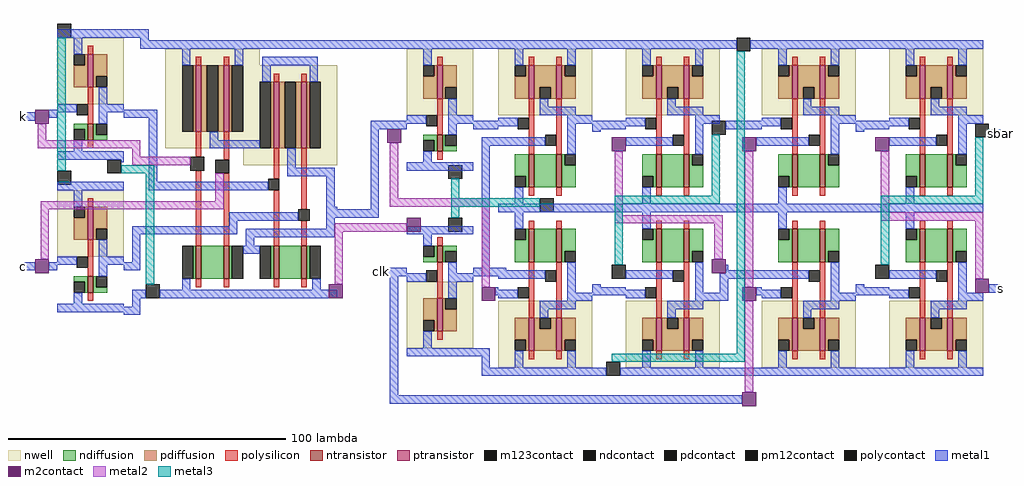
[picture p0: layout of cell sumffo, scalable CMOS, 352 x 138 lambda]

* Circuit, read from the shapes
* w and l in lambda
.subckt sumffo c clk gnd! k s sbar vdd!
M1 xor_0/inv_1/op c gnd! VSUBS nfet w=6 l=2
M2 xor_0/inv_0/op k gnd! VSUBS nfet w=6 l=2
M3 n1 k gnd! VSUBS nfet w=12 l=2
M4 ffo_0/d c n1 VSUBS nfet w=12 l=2
M5 n2 xor_0/inv_0/op ffo_0/d VSUBS nfet w=12 l=2
M6 gnd! xor_0/inv_1/op n2 VSUBS nfet w=12 l=2
M7 ffo_0/nand_0/b clk gnd! VSUBS nfet w=6 l=2
M8 ffo_0/nand_0/a ffo_0/d gnd! VSUBS nfet w=6 l=2
M9 n3 ffo_0/d gnd! VSUBS nfet w=12 l=2
M10 n4 ffo_0/nand_0/a gnd! VSUBS nfet w=12 l=2
M11 ffo_0/nand_3/a ffo_0/nand_0/b n3 VSUBS nfet w=12 l=2
M12 ffo_0/nand_1/a ffo_0/nand_0/b n4 VSUBS nfet w=12 l=2
M13 n5 ffo_0/nand_3/a gnd! VSUBS nfet w=12 l=2
M14 n6 ffo_0/nand_1/a gnd! VSUBS nfet w=12 l=2
M15 ffo_0/nand_1/b ffo_0/nand_4/a n5 VSUBS nfet w=12 l=2
M16 ffo_0/nand_4/a ffo_0/nand_1/b n6 VSUBS nfet w=12 l=2
M17 n7 clk gnd! VSUBS nfet w=12 l=2
M18 n8 ffo_0/nand_4/a gnd! VSUBS nfet w=12 l=2
M19 ffo_0/nand_7/a ffo_0/nand_1/b n7 VSUBS nfet w=12 l=2
M20 ffo_0/nand_6/a clk n8 VSUBS nfet w=12 l=2
M21 n9 ffo_0/nand_7/a gnd! VSUBS nfet w=12 l=2
M22 n10 ffo_0/nand_6/a gnd! VSUBS nfet w=12 l=2
M23 s sbar n9 VSUBS nfet w=12 l=2
M24 sbar s n10 VSUBS nfet w=12 l=2
M25 xor_0/inv_1/op c vdd! n11 pfet w=12 l=2
M26 xor_0/inv_0/op k vdd! n12 pfet w=12 l=2
M27 n13 k vdd! n14 pfet w=24 l=2
M28 vdd! c n13 n14 pfet w=24 l=2
M29 ffo_0/d xor_0/inv_0/op n13 n14 pfet w=24 l=2
M30 n13 xor_0/inv_1/op ffo_0/d n14 pfet w=24 l=2
M31 ffo_0/nand_0/b clk vdd! n15 pfet w=12 l=2
M32 ffo_0/nand_0/a ffo_0/d vdd! n16 pfet w=12 l=2
M33 ffo_0/nand_3/a ffo_0/d vdd! n17 pfet w=12 l=2
M34 ffo_0/nand_1/a ffo_0/nand_0/a vdd! n18 pfet w=12 l=2
M35 vdd! ffo_0/nand_0/b ffo_0/nand_3/a n17 pfet w=12 l=2
M36 vdd! ffo_0/nand_0/b ffo_0/nand_1/a n18 pfet w=12 l=2
M37 ffo_0/nand_1/b ffo_0/nand_3/a vdd! n19 pfet w=12 l=2
M38 ffo_0/nand_4/a ffo_0/nand_1/a vdd! n20 pfet w=12 l=2
M39 vdd! ffo_0/nand_4/a ffo_0/nand_1/b n19 pfet w=12 l=2
M40 vdd! ffo_0/nand_1/b ffo_0/nand_4/a n20 pfet w=12 l=2
M41 ffo_0/nand_7/a clk vdd! n21 pfet w=12 l=2
M42 ffo_0/nand_6/a ffo_0/nand_4/a vdd! n22 pfet w=12 l=2
M43 vdd! ffo_0/nand_1/b ffo_0/nand_7/a n21 pfet w=12 l=2
M44 vdd! clk ffo_0/nand_6/a n22 pfet w=12 l=2
M45 s ffo_0/nand_7/a vdd! n23 pfet w=12 l=2
M46 sbar ffo_0/nand_6/a vdd! n24 pfet w=12 l=2
M47 vdd! sbar s n23 pfet w=12 l=2
M48 vdd! s sbar n24 pfet w=12 l=2
.ends

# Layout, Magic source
magic
tech scmos
<< metal1 >>
rect 110 120 135 123
rect -3 94 -2 97
rect 122 91 128 94
rect 122 62 125 91
rect 348 88 349 91
rect 110 59 125 62
rect -3 40 -2 43
rect 126 38 127 41
rect 348 32 349 35
<< m2contact >>
rect 135 54 140 59
rect 107 30 112 35
<< metal2 >>
rect 109 54 135 57
rect 109 35 112 54
use xor  xor_0
transform 1 0 51 0 1 80
box -53 -56 59 49
use ffo  ffo_0
transform 1 0 141 0 1 33
box -14 -42 207 91
<< labels >>
rlabel metal1 -3 94 -3 97 3 k
rlabel metal1 -3 40 -3 43 3 c
rlabel metal1 126 38 126 41 1 clk
rlabel metal1 349 32 349 35 7 s
rlabel metal1 349 88 349 91 7 sbar
<< end >>

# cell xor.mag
magic
tech scmos
<< nwell >>
rect -3 34 31 40
rect -3 4 59 34
rect 25 -2 59 4
<< ntransistor >>
rect 8 -43 10 -31
rect 18 -43 20 -31
rect 36 -43 38 -31
rect 46 -43 48 -31
<< ptransistor >>
rect 8 10 10 34
rect 18 10 20 34
rect 36 4 38 28
rect 46 4 48 28
<< ndiffusion >>
rect 7 -43 8 -31
rect 10 -43 18 -31
rect 20 -43 21 -31
rect 35 -43 36 -31
rect 38 -43 46 -31
rect 48 -43 49 -31
<< pdiffusion >>
rect 7 10 8 34
rect 10 10 12 34
rect 16 10 18 34
rect 20 10 21 34
rect 35 4 36 28
rect 38 4 40 28
rect 44 4 46 28
rect 48 4 49 28
<< ndcontact >>
rect 3 -43 7 -31
rect 21 -43 25 -31
rect 31 -43 35 -31
rect 49 -43 53 -31
<< pdcontact >>
rect 3 10 7 34
rect 12 10 16 34
rect 21 10 25 34
rect 31 4 35 28
rect 40 4 44 28
rect 49 4 53 28
<< polysilicon >>
rect 8 34 10 37
rect 18 34 20 37
rect 36 28 38 31
rect 46 28 48 31
rect 8 1 10 10
rect 18 0 20 10
rect 8 -31 10 -4
rect 18 -31 20 -5
rect 36 -7 38 4
rect 36 -31 38 -11
rect 46 -18 48 4
rect 46 -31 48 -22
rect 8 -46 10 -43
rect 18 -46 20 -43
rect 36 -46 38 -43
rect 46 -46 48 -43
<< polycontact >>
rect 34 -11 38 -7
rect 45 -22 49 -18
<< metal1 >>
rect -18 44 -9 47
rect -12 43 -9 44
rect -12 40 59 43
rect 3 34 6 40
rect 22 34 25 40
rect -53 14 -50 17
rect -45 15 -42 18
rect -18 15 -6 18
rect -19 -1 -18 0
rect -9 -8 -6 15
rect 32 34 52 37
rect 32 28 35 34
rect 49 28 52 34
rect 13 7 16 10
rect 13 4 31 7
rect 41 -3 44 4
rect 41 -6 58 -3
rect -9 -11 34 -8
rect 55 -17 58 -6
rect 20 -22 45 -19
rect 55 -21 59 -17
rect 20 -24 23 -22
rect -15 -27 23 -24
rect 55 -25 58 -21
rect -53 -40 -50 -37
rect -15 -37 -12 -27
rect 26 -28 58 -25
rect 26 -31 29 -28
rect -45 -40 -42 -37
rect -18 -40 -12 -37
rect 25 -34 31 -31
rect -15 -50 -10 -47
rect 3 -47 6 -43
rect 50 -47 53 -43
rect -5 -50 59 -47
rect -15 -53 -12 -50
rect -18 -56 -12 -53
<< m2contact >>
rect -50 13 -45 18
rect -50 -41 -45 -36
<< pm12contact >>
rect 6 -4 11 1
rect 15 -5 20 0
<< metal2 >>
rect -49 7 -46 13
rect -49 4 -12 7
rect -15 1 -12 4
rect -15 -2 6 1
rect 15 -15 18 -5
rect -48 -18 18 -15
rect -48 -36 -45 -18
<< m123contact >>
rect -42 44 -37 49
rect -42 -9 -37 -4
rect -24 -5 -19 0
rect -10 -50 -5 -45
<< metal3 >>
rect -42 -4 -39 44
rect -19 -5 -7 -2
rect -10 -45 -7 -5
use inv  inv_0
transform 1 0 -42 0 1 14
box 0 -15 24 33
use inv  inv_1
transform 1 0 -42 0 1 -41
box 0 -15 24 33
<< labels >>
rlabel metal1 28 -49 28 -49 1 gnd!
rlabel metal1 27 42 27 42 5 vdd!
rlabel metal1 59 -21 59 -17 7 op
rlabel metal1 -10 41 -10 41 1 vdd!
rlabel metal1 -11 -49 -11 -49 1 gnd!
rlabel metal1 -53 -40 -53 -37 3 b
rlabel metal1 -53 14 -53 17 3 a
<< end >>

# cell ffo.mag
magic
tech scmos
<< metal1 >>
rect 18 87 27 90
rect 61 87 73 90
rect 107 87 113 90
rect 118 87 122 90
rect 156 87 168 90
rect -14 58 -6 61
rect 18 58 27 61
rect 61 58 73 61
rect 61 57 64 58
rect 109 58 122 61
rect 156 58 168 61
rect 156 57 159 58
rect 204 55 207 58
rect 21 52 27 55
rect 21 8 24 52
rect 120 52 122 55
rect 61 30 73 31
rect 61 28 76 30
rect 107 28 122 31
rect 156 28 168 31
rect -14 5 -6 8
rect 18 7 30 8
rect 18 5 27 7
rect -12 -38 -9 5
rect 109 7 110 9
rect 109 6 122 7
rect 107 4 122 6
rect 61 1 64 2
rect 26 -2 27 1
rect 61 -2 73 1
rect 107 -4 110 4
rect 156 1 159 2
rect 120 -2 122 1
rect 156 -2 168 1
rect 204 -1 207 2
rect 18 -24 24 -21
rect 21 -28 24 -24
rect 21 -31 29 -28
rect 61 -31 66 -28
rect 71 -31 73 -28
rect 107 -31 122 -28
rect 156 -31 168 -28
rect -12 -41 115 -38
<< m2contact >>
rect -13 53 -8 58
rect 68 50 73 55
rect 115 50 120 55
rect 163 50 168 55
rect 104 6 109 11
rect 21 -4 26 1
rect 115 -4 120 1
rect 199 -1 204 4
rect 115 -42 120 -37
<< metal2 >>
rect -12 33 -9 53
rect -12 30 24 33
rect 21 1 24 30
rect 69 27 72 50
rect 69 24 108 27
rect 105 11 108 24
rect 116 1 119 50
rect 165 28 168 50
rect 165 25 202 28
rect 199 4 202 25
rect 116 -37 119 -4
<< m123contact >>
rect 113 86 118 91
rect 104 56 109 61
rect 199 55 204 60
rect 9 40 14 45
rect 9 21 14 26
rect 42 28 47 33
rect 68 4 73 9
rect 163 4 168 9
rect 66 -31 71 -26
<< metal3 >>
rect 10 33 13 40
rect 104 34 107 56
rect 10 30 42 33
rect 10 26 13 30
rect 69 31 107 34
rect 69 9 72 31
rect 113 -23 116 86
rect 199 34 202 55
rect 165 31 202 34
rect 165 9 168 31
rect 68 -26 116 -23
use inv  inv_0
transform 1 0 -6 0 1 57
box 0 -15 24 33
use nand  nand_0
transform 1 0 27 0 1 63
box 0 -35 34 27
use inv  inv_1
transform 1 0 -6 0 -1 9
box 0 -15 24 33
use nand  nand_2
transform 1 0 27 0 -1 -4
box 0 -35 34 27
use nand  nand_1
transform 1 0 73 0 1 63
box 0 -35 34 27
use nand  nand_3
transform 1 0 73 0 -1 -4
box 0 -35 34 27
use nand  nand_4
transform 1 0 122 0 1 63
box 0 -35 34 27
use nand  nand_5
transform 1 0 122 0 -1 -4
box 0 -35 34 27
use nand  nand_6
transform 1 0 168 0 1 63
box 0 -35 34 27
use nand  nand_7
transform 1 0 168 0 -1 -4
box 0 -35 34 27
<< labels >>
rlabel metal1 -14 58 -14 61 3 d
rlabel metal1 -14 5 -14 8 3 clk
rlabel metal1 207 55 207 58 7 qbar
rlabel metal1 207 -1 207 2 7 q
<< end >>

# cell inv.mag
magic
tech scmos
<< nwell >>
rect 0 6 24 30
<< ntransistor >>
rect 11 -7 13 -1
<< ptransistor >>
rect 11 12 13 24
<< ndiffusion >>
rect 6 -3 11 -1
rect 10 -7 11 -3
rect 13 -5 14 -1
rect 13 -7 18 -5
<< pdiffusion >>
rect 10 20 11 24
rect 6 12 11 20
rect 13 16 18 24
rect 13 12 14 16
<< ndcontact >>
rect 6 -7 10 -3
rect 14 -5 18 -1
<< pdcontact >>
rect 6 20 10 24
rect 14 12 18 16
<< polysilicon >>
rect 11 24 13 27
rect 11 -1 13 12
rect 11 -10 13 -7
<< polycontact >>
rect 7 2 11 6
<< metal1 >>
rect 0 30 24 33
rect 6 24 9 30
rect 15 6 18 12
rect 0 3 7 6
rect 15 3 24 6
rect 15 -1 18 3
rect 6 -11 9 -7
rect 0 -14 24 -11
<< labels >>
rlabel metal1 14 31 14 31 5 vdd!
rlabel metal1 24 3 24 6 7 op
rlabel metal1 0 3 0 6 3 in
rlabel metal1 20 -13 20 -13 1 gnd!
<< end >>

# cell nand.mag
magic
tech scmos
<< nwell >>
rect 0 0 34 24
<< ntransistor >>
rect 11 -26 13 -14
rect 21 -26 23 -14
<< ptransistor >>
rect 11 6 13 18
rect 21 6 23 18
<< ndiffusion >>
rect 6 -22 11 -14
rect 10 -26 11 -22
rect 13 -26 21 -14
rect 23 -18 24 -14
rect 23 -26 28 -18
<< pdiffusion >>
rect 10 14 11 18
rect 6 6 11 14
rect 13 10 21 18
rect 13 6 15 10
rect 19 6 21 10
rect 23 14 24 18
rect 23 6 28 14
<< ndcontact >>
rect 6 -26 10 -22
rect 24 -18 28 -14
<< pdcontact >>
rect 6 14 10 18
rect 15 6 19 10
rect 24 14 28 18
<< polysilicon >>
rect 11 18 13 21
rect 21 18 23 21
rect 11 -14 13 6
rect 21 -14 23 6
rect 11 -29 13 -26
rect 21 -29 23 -26
<< polycontact >>
rect 7 -5 11 -1
rect 17 -11 21 -7
<< metal1 >>
rect 0 24 34 27
rect 6 18 9 24
rect 25 18 28 24
rect 15 3 18 6
rect 15 0 28 3
rect 0 -4 7 -1
rect 25 -3 34 0
rect 0 -11 17 -8
rect 25 -14 28 -3
rect 6 -32 9 -26
rect 0 -35 34 -32
<< labels >>
rlabel metal1 24 26 24 26 5 vdd!
rlabel metal1 24 -34 24 -34 1 gnd!
rlabel metal1 0 -11 0 -8 3 b
rlabel metal1 0 -4 0 -1 3 a
rlabel metal1 34 -3 34 0 7 out
<< end >>
